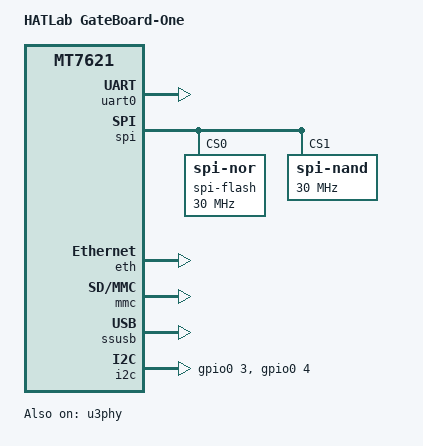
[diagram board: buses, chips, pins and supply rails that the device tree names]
// SPDX-License-Identifier: GPL-2.0
/*
 * Copyright (C) 2022 MediaTek Inc. All rights reserved.
 *
 * Author: Weijie Gao <weijie.gao@mediatek.com>
 */

/dts-v1/;

#include <dt-bindings/gpio/gpio.h>
#include "mt7621.dtsi"

/ {
	compatible = "hatlab,gateboard-one", "mediatek,mt7621-soc";
	model = "HATLab GateBoard-One";

	aliases {
		serial0 = &uart0;
		spi0 = &spi;
	};

	chosen {
		stdout-path = &uart0;
	};
};

&pinctrl {
	state_default: pin_state {
		gpios {
			groups = "wdt", "pcie reset", "i2c";
			function = "gpio";
		};

		jtag {
			groups = "jtag";
			function = "jtag";
		};
	};
};

&uart0 {
	status = "okay";
};

&gpio {
	status = "okay";
};

&spi {
	status = "okay";
	num-cs = <2>;

	spi-flash@0 {
		#address-cells = <1>;
		#size-cells = <1>;
		compatible = "jedec,spi-nor";
		spi-max-frequency = <30000000>;
		reg = <0>;
	};

	spi-nand@1 {
		#address-cells = <1>;
		#size-cells = <1>;
		compatible = "spi-nand";
		reg = <1>;
		spi-max-frequency = <30000000>;
	};
};

&eth {
	status = "okay";
};

&mmc {
	cap-sd-highspeed;

	status = "okay";
};

&ssusb {
	status = "okay";
};

&u3phy {
	status = "okay";
};

&i2c {
	status = "okay";
	gpios = <&gpio0 3 GPIO_ACTIVE_HIGH>, /* PIN3 as SDA */
			<&gpio0 4 GPIO_ACTIVE_HIGH>; /* PIN4 as CLK */
	i2c-gpio,delay-us = <50>;
	i2c-gpio,scl-output-only;
};
